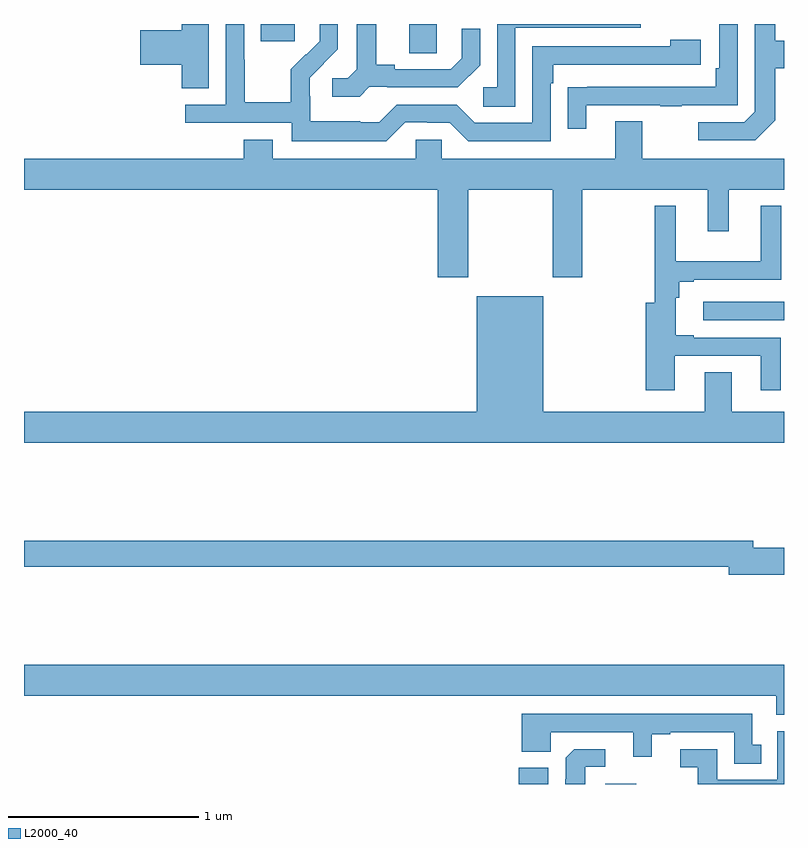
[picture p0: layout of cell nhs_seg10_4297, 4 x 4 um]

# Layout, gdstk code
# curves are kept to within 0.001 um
import gdstk
lib = gdstk.Library(unit=1e-6, precision=1e-09)
def R(c, l, rs):  # rectangles x0, y0, x1, y1
    for r in rs: c.add(gdstk.rectangle(r[:2], r[2:], *l))
def P(c, l, *ps):  # polygons
    for p in ps: c.add(gdstk.Polygon(p, *l))
L2000_40 = (2000, 40)

nhs_seg10_4297 = lib.new_cell('nhs_seg10_4297')
R(nhs_seg10_4297, L2000_40, [(353.603,1318.5,353.758,1318.585), (354.059,1318.5,354.223,1318.501), (354.576,1320.942,355,1321.038), (353.027,1322.347,353.172,1322.5), (352.247,1322.409,352.426,1322.5)])
P(nhs_seg10_4297, L2000_40, [(351.973,1322.5),(351.83,1322.5),(351.83,1322.468),(351.612,1322.468),(351.612,1322.285),(351.83,1322.285),(351.83,1322.161),(351.973,1322.161)],
  [(352.818,1322.169),(352.912,1322.169),(352.912,1322.166),(353.284,1322.166),(353.4,1322.282),(353.4,1322.476),(353.303,1322.476),(353.303,1322.319),(353.246,1322.262),(352.951,1322.262),(352.951,1322.285),(352.855,1322.285),(352.855,1322.5),(352.751,1322.5),(352.751,1322.261),(352.704,1322.214),(352.623,1322.214),(352.623,1322.117),(352.766,1322.117)],
  [(353.959,1322.073),(354.349,1322.073),(354.349,1322.068),(354.461,1322.068),(354.461,1322.073),(354.756,1322.073),(354.756,1322.5),(354.66,1322.5),(354.66,1322.266),(354.64,1322.266),(354.64,1322.169),(353.965,1322.169),(353.965,1322.168),(353.863,1322.168),(353.863,1321.95),(353.959,1321.95)],
  [(353.586,1322.481),(354.245,1322.481),(354.245,1322.5),(353.49,1322.5),(353.49,1322.166),(353.418,1322.166),(353.418,1322.065),(353.586,1322.065)],
  [(353.007,1321.983),(353.123,1321.983),(353.123,1321.98),(353.241,1321.98),(353.337,1321.884),(353.772,1321.884),(353.772,1322.189),(353.785,1322.189),(353.785,1322.286),(354.562,1322.286),(354.562,1322.416),(354.401,1322.416),(354.401,1322.382),(353.676,1322.382),(353.676,1321.98),(353.373,1321.98),(353.277,1322.076),(352.962,1322.076),(352.869,1321.983),(352.769,1321.983),(352.769,1321.987),(352.506,1321.987),(352.506,1322.121),(352.504,1322.121),(352.504,1322.218),(352.65,1322.366),(352.65,1322.5),(352.556,1322.5),(352.556,1322.408),(352.485,1322.337),(352.482,1322.34),(352.405,1322.263),(352.405,1322.089),(352.161,1322.089),(352.161,1322.312),(352.158,1322.312),(352.158,1322.5),(352.062,1322.5),(352.062,1322.076),(351.849,1322.076),(351.849,1321.98),(352.41,1321.98),(352.41,1321.883),(352.907,1321.883)],
  [(354.955,1321.993),(354.955,1322.266),(355,1322.266),(355,1322.413),(354.955,1322.413),(354.955,1322.5),(354.846,1322.5),(354.846,1322.037),(354.792,1321.983),(354.549,1321.983),(354.549,1321.887),(354.849,1321.887)],
  [(354.599,1321.41),(354.709,1321.41),(354.709,1321.628),(355,1321.628),(355,1321.792),(354.253,1321.792),(354.253,1321.987),(354.113,1321.987),(354.113,1321.792),(353.199,1321.792),(353.199,1321.89),(353.061,1321.89),(353.061,1321.792),(352.309,1321.792),(352.309,1321.891),(352.157,1321.891),(352.157,1321.792),(351,1321.792),(351,1321.628),(353.177,1321.628),(353.177,1321.167),(353.337,1321.167),(353.337,1321.628),(353.782,1321.628),(353.782,1321.167),(353.937,1321.167),(353.937,1321.628),(354.599,1321.628)],
  [(354.424,1320.753),(354.878,1320.753),(354.878,1320.573),(354.982,1320.573),(354.982,1320.849),(354.526,1320.849),(354.526,1320.862),(354.43,1320.862),(354.43,1321.058),(354.448,1321.058),(354.448,1321.143),(354.526,1321.143),(354.526,1321.155),(354.985,1321.155),(354.985,1321.543),(354.878,1321.543),(354.878,1321.252),(354.43,1321.252),(354.43,1321.543),(354.319,1321.543),(354.319,1321.033),(354.272,1321.033),(354.272,1320.573),(354.424,1320.573)],
  [(355,1320.46),(354.724,1320.46),(354.724,1320.668),(354.584,1320.668),(354.584,1320.46),(353.734,1320.46),(353.734,1321.066),(353.384,1321.066),(353.384,1320.46),(351,1320.46),(351,1320.296),(355,1320.296)],
  [(355,1319.744),(354.838,1319.744),(354.838,1319.78),(351,1319.78),(351,1319.644),(354.71,1319.644),(354.71,1319.602),(355,1319.602)],
  [(355,1319.128),(351,1319.128),(351,1318.964),(354.959,1318.964),(354.959,1318.865),(355,1318.865)],
  [(354.88,1318.707),(354.834,1318.707),(354.834,1318.869),(353.621,1318.869),(353.621,1318.67),(353.772,1318.67),(353.772,1318.773),(354.206,1318.773),(354.206,1318.644),(354.304,1318.644),(354.304,1318.761),(354.4,1318.761),(354.4,1318.773),(354.738,1318.773),(354.738,1318.607),(354.88,1318.607)],
  [(355,1318.777),(354.965,1318.777),(354.965,1318.522),(354.649,1318.522),(354.649,1318.683),(354.453,1318.683),(354.453,1318.587),(354.545,1318.587),(354.545,1318.5),(355,1318.5)],
  [(353.953,1318.59),(354.058,1318.59),(354.058,1318.683),(353.896,1318.683),(353.85,1318.637),(353.85,1318.526),(353.849,1318.526),(353.849,1318.5),(353.953,1318.5)])

lib.write_gds('nhs_seg10_4297.gds')
